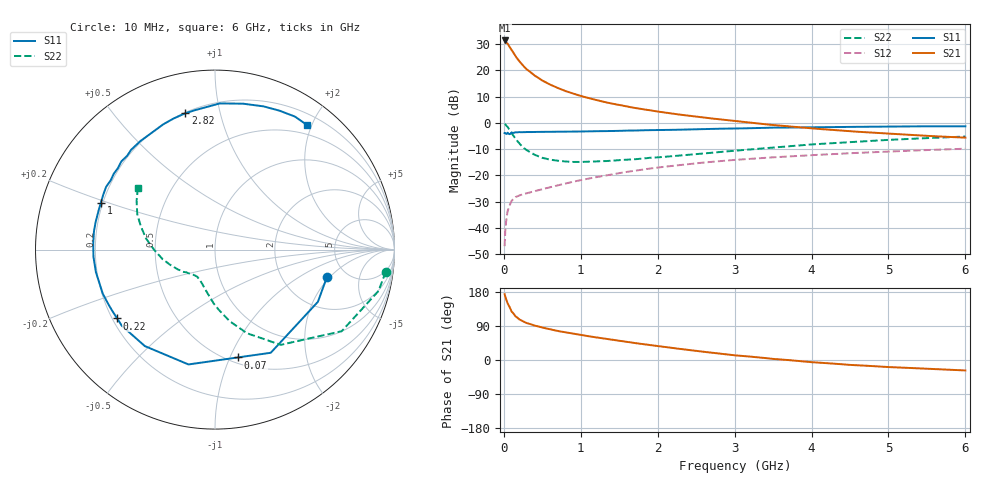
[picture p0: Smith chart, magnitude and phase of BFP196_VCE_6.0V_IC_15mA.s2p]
! Infineon Technologies  Discrete & RF Semiconductors
! BFP196
! VCE = 6.0 V,  IC =  15mA
! Common Emitter S-Parameters:  Jan 2016
# GHz  S  MA  R  50
!  f  S11  S21  S12  S22
! GHz  MAG  ANG  MAG  ANG  MAG  ANG  MAG  ANG
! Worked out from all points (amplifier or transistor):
!   210 points, 10 MHz to 6 GHz, reference 50 ohm
!   highest |S21| = 31.4 dB at 10 MHz (marker M1)
!   |S21| within 3 dB of that: start of sweep to 86.58 MHz
!   unconditionally stable (mu >= 1): 784.5 MHz to 3.446 GHz; 3.688 GHz to 3.8 GHz
!   at 185 MHz: K = 0.39, MSG = 26.0 dB, |S12| = -27.9 dB
!   at 1.52 GHz: K = 1.12, MAG = 10.8 dB, |S12| = -19.0 dB
!   at 6 GHz: K = 0.97, MSG = 2.1 dB, |S12| = -9.8 dB
!   S11 on the Smith chart (normalised r, x): 10 MHz: 3.55, -1.86; 70 MHz: 0.56, -1.07; 220 MHz: 0.22, -0.30; 1 GHz: 0.19, +0.19; 2.82 GHz: 0.20, +0.78; 6 GHz: 0.36, +1.94
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0.01  0.642 -13.9  37.26 173.7  0.0045 84.7  0.9593 -7.4
0.02  0.6429 -26.9  35.87 166.1  0.0094 77.0  0.9397 -14.2
0.05  0.6534 -61.6  32.24 148.9  0.0212 64.4  0.8397 -32.8
0.07  0.6142 -78.0  28.82 141.9  0.0256 56.4  0.7484 -40.4
0.1  0.6567 -103.0  24.74 128.2  0.0328 48.6  0.6445 -55.4
0.15  0.6647 -126.0  18.77 115.5  0.0386 41.9  0.4996 -69.0
0.2  0.6705 -140.7  15.05 107.3  0.0414 38.5  0.4073 -78.4
0.22  0.6666 -144.9  13.94 105.2  0.0425 38.0  0.3805 -81.0
0.26  0.6675 -152.7  11.94 100.7  0.0444 37.4  0.3339 -86.7
0.3  0.6717 -158.5  10.44 97.2  0.0458 38.0  0.3016 -91.2
0.4  0.6754 -169.3  7.996 90.8  0.0502 39.2  0.2479 -99.6
0.5  0.6784 -176.7  6.426 85.6  0.0547 41.3  0.2167 -106.3
0.7  0.6821 171.3  4.643 76.5  0.0646 44.8  0.1905 -116.0
1  0.6876 157.6  3.267 66.1  0.0812 47.8  0.1808 -125.3
1.02  0.6886 156.9  3.209 65.5  0.0824 47.9  0.1811 -125.8
1.4  0.7048 143.2  2.342 53.7  0.1051 48.2  0.1907 -134.7
2.02  0.734 124.0  1.634 36.4  0.1425 44.6  0.2222 -148.4
2.82  0.7773 102.3  1.168 16.6  0.1882 36.9  0.2805 -166.0
3.1  0.7883 96.3  1.05 10.8  0.2024 33.5  0.3042 -171.9
4.1  0.8296 77.5  0.769 -7.0  0.2478 22.4  0.3979 168.9
5.1  0.8549 63.9  0.615 -19.4  0.2891 11.5  0.4831 153.9
6  0.863 53.4  0.525 -27.6  0.3232 1.3  0.5506 141.2
